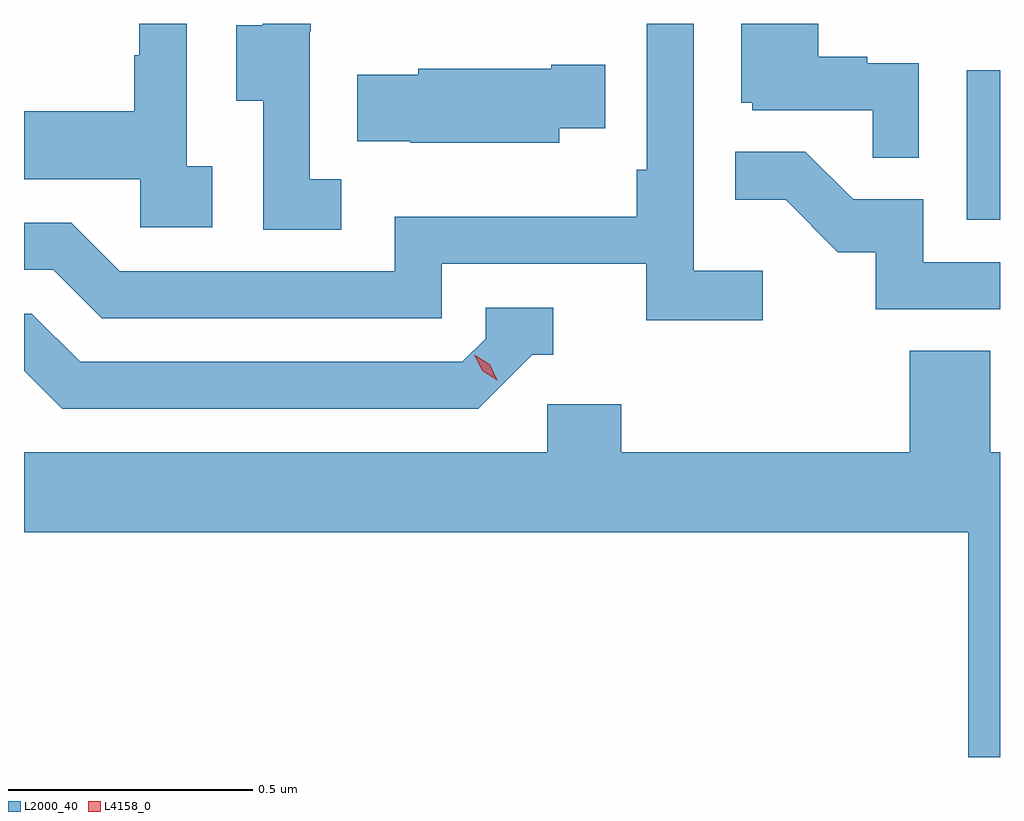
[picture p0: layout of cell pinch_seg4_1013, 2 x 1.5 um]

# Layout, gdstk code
import gdstk
lib = gdstk.Library(unit=1e-6, precision=1e-09)
def R(c, l, rs):  # rectangles x0, y0, x1, y1
    for r in rs: c.add(gdstk.rectangle(r[:2], r[2:], *l))
def P(c, l, *ps):  # polygons
    for p in ps: c.add(gdstk.Polygon(p, *l))
L2000_40 = (2000, 40)
L4158_0 = (4158, 0)

pinch_seg4_1013 = lib.new_cell('pinch_seg4_1013')
R(pinch_seg4_1013, L2000_40, [(847.346,778.812,847.414,779.119)])
P(pinch_seg4_1013, L2000_40, [(846.928,778.708),(846.786,778.708),(846.786,779.214),(846.69,779.214),(846.69,778.915),(846.67,778.915),(846.67,778.819),(846.174,778.819),(846.174,778.707),(845.61,778.707),(845.511,778.806),(845.414,778.806),(845.414,778.71),(845.474,778.71),(845.573,778.611),(846.27,778.611),(846.27,778.722),(846.689,778.722),(846.689,778.606),(846.928,778.606)],
  [(845.8,778.922),(845.748,778.922),(845.748,779.214),(845.65,779.214),(845.65,779.15),(845.64,779.15),(845.64,779.035),(845.414,779.035),(845.414,778.895),(845.652,778.895),(845.652,778.797),(845.8,778.797)],
  [(847.248,779.133),(847.142,779.133),(847.142,779.146),(847.042,779.146),(847.042,779.214),(846.884,779.214),(846.884,779.052),(846.906,779.052),(846.906,779.037),(847.153,779.037),(847.153,778.939),(847.248,778.939)],
  [(846.064,778.895),(846,778.895),(846,779.199),(846.002,779.199),(846.002,779.214),(845.903,779.214),(845.903,779.211),(845.849,779.211),(845.849,779.056),(845.904,779.056),(845.904,778.792),(846.064,778.792)],
  [(846.511,779),(846.605,779),(846.605,779.13),(846.494,779.13),(846.494,779.122),(846.222,779.122),(846.222,779.11),(846.097,779.11),(846.097,778.973),(846.205,778.973),(846.205,778.97),(846.511,778.97)],
  [(847.414,778.725),(847.257,778.725),(847.257,778.854),(847.113,778.854),(847.015,778.952),(846.871,778.952),(846.871,778.853),(846.975,778.853),(847.082,778.746),(847.159,778.746),(847.159,778.629),(847.414,778.629)],
  [(846.456,778.536),(846.499,778.536),(846.499,778.632),(846.36,778.632),(846.36,778.569),(846.312,778.521),(845.529,778.521),(845.43,778.62),(845.414,778.62),(845.414,778.503),(845.492,778.425),(846.345,778.425)],
  [(847.414,778.336),(847.394,778.336),(847.394,778.544),(847.229,778.544),(847.229,778.336),(846.638,778.336),(846.638,778.434),(846.486,778.434),(846.486,778.336),(845.414,778.336),(845.414,778.172),(847.349,778.172),(847.349,777.711),(847.414,777.711)])
P(pinch_seg4_1013, L4158_0, [(846.384,778.484),(846.353,778.503),(846.337,778.536),(846.337,778.536),(846.337,778.536),(846.368,778.516),(846.384,778.484),(846.384,778.484)])

lib.write_gds('pinch_seg4_1013.gds')
